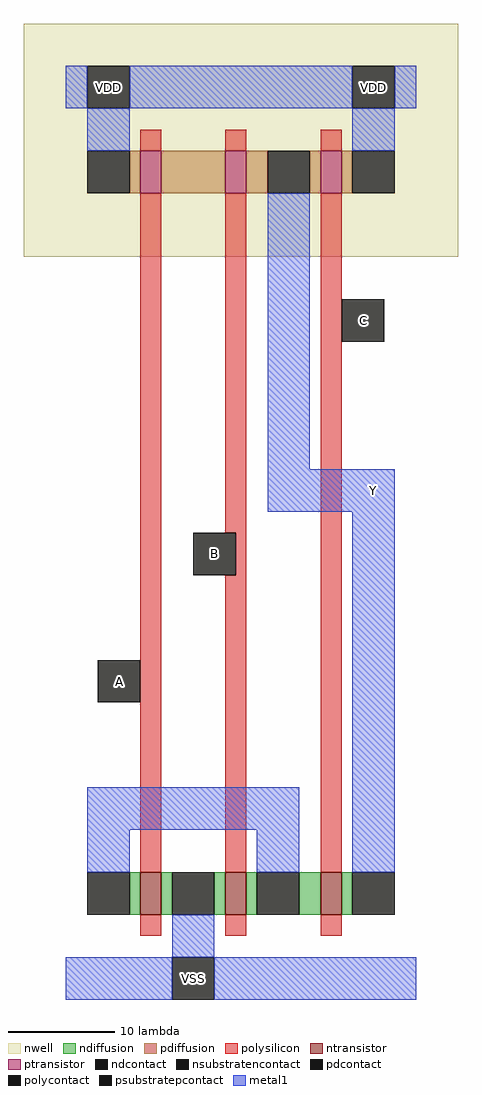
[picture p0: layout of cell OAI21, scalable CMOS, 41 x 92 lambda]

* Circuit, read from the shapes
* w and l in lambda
.subckt OAI21 A B C VDD VSS Y
M1 VSS A n1 VSS nfet w=4 l=2
M2 n1 B VSS VSS nfet w=4 l=2
M3 Y C n1 VSS nfet w=4 l=2
M4 n2 A VDD VDD pfet w=4 l=2
M5 Y B n2 VDD pfet w=4 l=2
M6 VDD C Y VDD pfet w=4 l=2
.ends

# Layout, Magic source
magic
tech scmos
<< nwell >>
rect -4 70 37 92
<< ntransistor >>
rect 7 8 9 12
rect 15 8 17 12
rect 24 8 26 12
<< ptransistor >>
rect 7 76 9 80
rect 15 76 17 80
rect 24 76 26 80
<< ndiffusion >>
rect 6 8 7 12
rect 9 8 10 12
rect 14 8 15 12
rect 17 8 18 12
rect 22 8 24 12
rect 26 8 27 12
<< pdiffusion >>
rect 6 76 7 80
rect 9 76 15 80
rect 17 76 19 80
rect 23 76 24 80
rect 26 76 27 80
<< ndcontact >>
rect 2 8 6 12
rect 10 8 14 12
rect 18 8 22 12
rect 27 8 31 12
<< pdcontact >>
rect 2 76 6 80
rect 19 76 23 80
rect 27 76 31 80
<< psubstratepcontact >>
rect 10 0 14 4
<< nsubstratencontact >>
rect 2 84 6 88
rect 27 84 31 88
<< polysilicon >>
rect 7 80 9 82
rect 15 80 17 82
rect 24 80 26 82
rect 7 12 9 76
rect 15 44 17 76
rect 16 40 17 44
rect 15 12 17 40
rect 24 12 26 76
rect 7 6 9 8
rect 15 6 17 8
rect 24 6 26 8
<< polycontact >>
rect 3 28 7 32
rect 12 40 16 44
rect 26 62 30 66
<< metal1 >>
rect 0 84 2 88
rect 6 84 27 88
rect 31 84 33 88
rect 2 80 6 84
rect 27 80 31 84
rect 19 50 23 76
rect 19 46 31 50
rect 2 16 22 20
rect 2 12 6 16
rect 18 12 22 16
rect 27 12 31 46
rect 10 4 14 8
rect 0 0 10 4
rect 14 0 33 4
<< labels >>
rlabel nsubstratencontact 29 86 29 86 1 VDD
rlabel nsubstratencontact 4 86 4 86 1 VDD
rlabel polycontact 5 30 5 30 1 A
rlabel psubstratepcontact 12 2 12 2 1 VSS
rlabel polycontact 14 42 14 42 1 B
rlabel metal1 29 48 29 48 1 Y
rlabel polycontact 28 64 28 64 1 C
<< end >>
